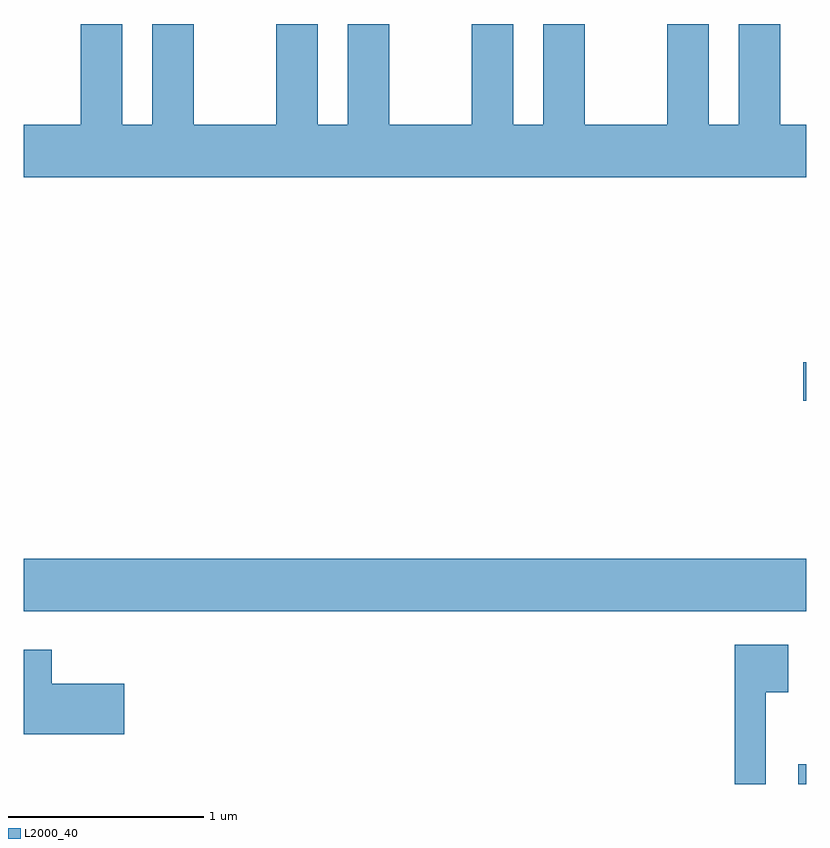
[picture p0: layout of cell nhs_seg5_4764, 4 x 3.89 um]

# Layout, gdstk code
import gdstk
lib = gdstk.Library(unit=1e-6, precision=1e-09)
def R(c, l, rs):  # rectangles x0, y0, x1, y1
    for r in rs: c.add(gdstk.rectangle(r[:2], r[2:], *l))
def P(c, l, *ps):  # polygons
    for p in ps: c.add(gdstk.Polygon(p, *l))
L2000_40 = (2000, 40)

nhs_seg5_4764 = lib.new_cell('nhs_seg5_4764')
R(nhs_seg5_4764, L2000_40, [(329.571,1518.072,329.611,1518.173), (325.611,1518.956,329.611,1519.224), (329.596,1520.031,329.611,1520.229)])
P(nhs_seg5_4764, L2000_40, [(329.611,1521.444),(329.479,1521.444),(329.479,1521.959),(329.266,1521.959),(329.266,1521.444),(329.114,1521.444),(329.114,1521.959),(328.901,1521.959),(328.901,1521.444),(328.479,1521.444),(328.479,1521.959),(328.266,1521.959),(328.266,1521.444),(328.114,1521.444),(328.114,1521.959),(327.901,1521.959),(327.901,1521.444),(327.479,1521.444),(327.479,1521.959),(327.266,1521.959),(327.266,1521.444),(327.114,1521.444),(327.114,1521.959),(326.901,1521.959),(326.901,1521.444),(326.479,1521.444),(326.479,1521.959),(326.266,1521.959),(326.266,1521.444),(326.114,1521.444),(326.114,1521.959),(325.901,1521.959),(325.901,1521.444),(325.611,1521.444),(325.611,1521.176),(329.611,1521.176)],
  [(329.404,1518.541),(329.519,1518.541),(329.519,1518.784),(329.246,1518.784),(329.246,1518.072),(329.404,1518.072)],
  [(326.124,1518.584),(325.754,1518.584),(325.754,1518.759),(325.611,1518.759),(325.611,1518.326),(326.124,1518.326)])

lib.write_gds('nhs_seg5_4764.gds')
